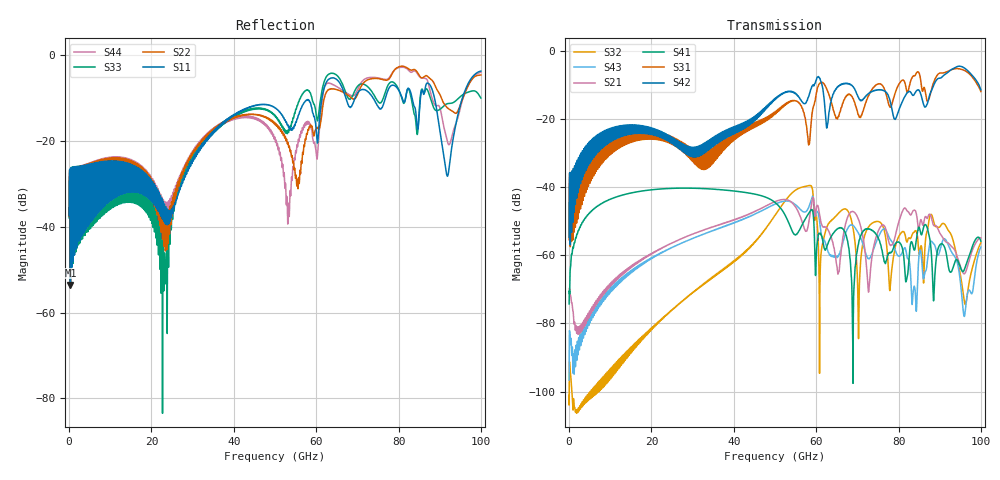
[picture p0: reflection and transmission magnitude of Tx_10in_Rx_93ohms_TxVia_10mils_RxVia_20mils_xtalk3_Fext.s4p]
! Info: Touchstone file created by Circ.  Input file=Tx_10in_Rx_93ohms_TxVia_10mils_RxVia_20mils.circ
# Hz S RI R 50
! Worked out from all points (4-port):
!   10000 points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, 10 MHz to 100 GHz, reference 50 ohm
!   strongest paths, dB at 10 MHz, 25.01 GHz, 50.01 GHz, 75.01 GHz, 100 GHz:
!     S42: -54.6, -26.4, -14.0, -11.4, -11.4
!     S31: -55.4, -26.6, -18.1, -9.7, -11.9
!     S41: -74.2, -40.3, -44.5, -54.6, -55.8
!     S21: -71.3, -56.4, -44.2, -53.1, -54.9
!     S43: -96.6, -57.7, -45.0, -54.8, -57.6
!     S32: -101.1, -76.1, -48.3, -50.1, -56.3
!   lowest |S11| = -53.6 dB at 320 MHz (marker M1), VSWR 1.00, Z = 49.8 + j0.0312 ohm
!   |S11| at or under -10 dB: start of sweep to 61.4 GHz; 73.83 GHz to 76.78 GHz (2.948 GHz wide, 3.92 % of centre); 88.75 GHz to 95.49 GHz (6.741 GHz wide, 7.32 % of centre) (the widest 3 of 6)
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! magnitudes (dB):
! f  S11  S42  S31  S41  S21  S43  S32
! 10 MHz  -37.3  -54.6  -55.4  -74.2  -71.3  -96.6  -101.1
! 320 MHz  -53.6  -47.2  -47.3  -63.7  -71.8  -86.2  -94.6
! 23.42 GHz  -35.4  -25.9  -26.5  -40.4  -57.3  -58.6  -77.8
! 57.99 GHz  -10.3  -13.8  -25.3  -48.1  -51.8  -46.5  -39.6
! 70.29 GHz  -8.5  -13.7  -18.7  -56.6  -49.5  -53.5  -84.4
! 91.86 GHz  -28.2  -6.4  -6.0  -61.4  -56.2  -56.3  -52.2
! 100 GHz  -3.7  -11.4  -11.9  -55.8  -54.9  -57.6  -56.3
